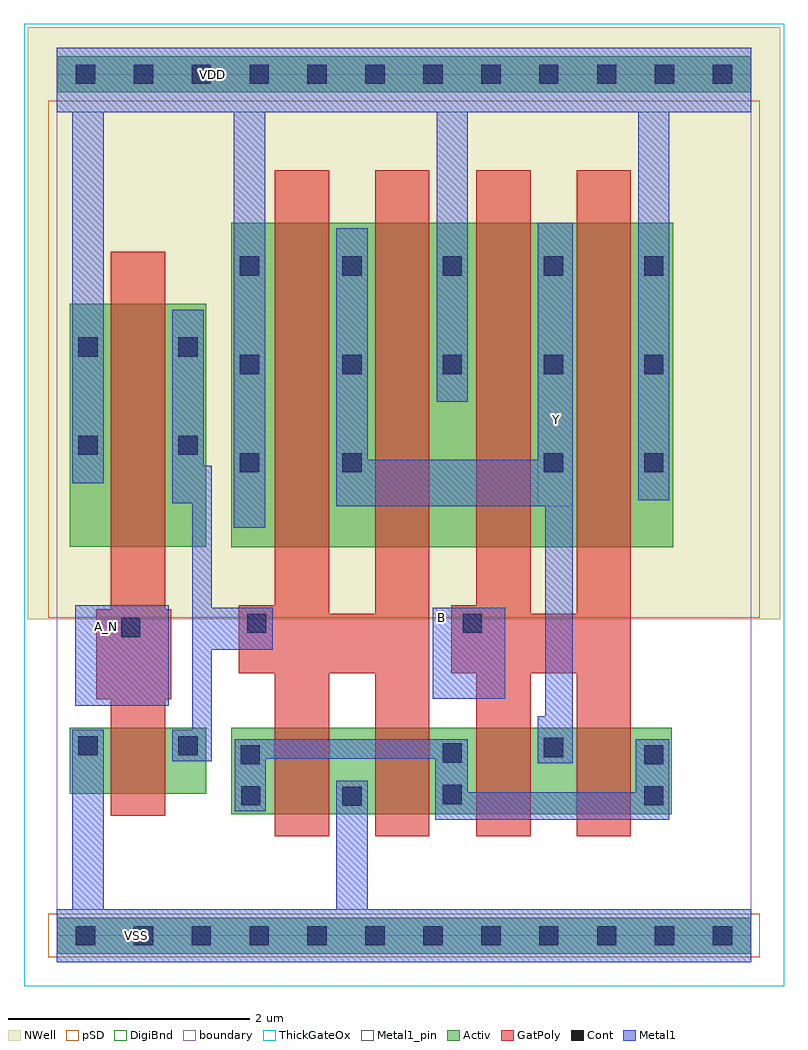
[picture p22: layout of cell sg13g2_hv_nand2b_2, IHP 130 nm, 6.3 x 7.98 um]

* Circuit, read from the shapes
.subckt sg13g2_hv_nand2b_2 A_N B VDD VSS Y
XM1 n1 A_N VSS VSS sg13_hv_nmos w=0.55u l=0.45u
XM2 VSS n1 n2 VSS sg13_hv_nmos w=0.72u l=0.45u m=2
XM3 Y B n2 VSS sg13_hv_nmos w=0.72u l=0.45u m=2
XM4 n1 A_N VDD VDD sg13_hv_pmos w=2.015u l=0.45u
XM5 Y n1 VDD VDD sg13_hv_pmos w=2.69u l=0.45u m=2
XM6 Y B VDD VDD sg13_hv_pmos w=2.69u l=0.45u m=2
.ends

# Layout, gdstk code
import gdstk
lib = gdstk.Library(unit=1e-6, precision=1e-09)
def R(c, l, rs):  # rectangles x0, y0, x1, y1
    for r in rs: c.add(gdstk.rectangle(r[:2], r[2:], *l))
def A(c, l, x, y, w, h, nx, ny, dx, dy):  # array of equal rectangles
    R(c, l, [(x+i*dx, y+j*dy, x+i*dx+w, y+j*dy+h) for i in range(nx) for j in range(ny)])
def P(c, l, *ps):  # polygons
    for p in ps: c.add(gdstk.Polygon(p, *l))
Activ = (1, 0)
GatPoly = (5, 0)
Cont = (6, 0)
Metal1 = (8, 0)
Metal1_pin = (8, 2)
pSD = (14, 0)
DigiBnd = (16, 0)
NWell = (31, 0)
ThickGateOx = (44, 0)
boundary = (189, 4)

sg13g2_hv_nand2b_2 = lib.new_cell('sg13g2_hv_nand2b_2')
R(sg13g2_hv_nand2b_2, Activ, [(0,-0.15,5.76,0.15), (1.45,1.005,5.1,1.725), (0.11,1.175,1.24,1.725), (1.45,3.22,5.11,5.91), (0.11,3.225,1.24,5.24), (0,6.99,5.76,7.29)])
P(sg13g2_hv_nand2b_2, GatPoly, [(1.81,0.825),(1.81,2.175),(1.51,2.175),(1.51,2.74),(1.81,2.74),(1.81,6.345),(2.26,6.345),(2.26,2.67),(2.64,2.67),(2.64,6.345),(3.09,6.345),(3.09,0.825),(2.64,0.825),(2.64,2.175),(2.26,2.175),(2.26,0.825)],
  [(0.45,0.995),(0.45,1.96),(0.33,1.96),(0.33,2.705),(0.45,2.705),(0.45,5.67),(0.9,5.67),(0.9,2.705),(0.95,2.705),(0.95,1.96),(0.9,1.96),(0.9,0.995)],
  [(3.48,0.825),(3.48,2.175),(3.27,2.175),(3.27,2.74),(3.48,2.74),(3.48,6.345),(3.93,6.345),(3.93,2.67),(4.31,2.67),(4.31,6.345),(4.76,6.345),(4.76,0.825),(4.31,0.825),(4.31,2.175),(3.93,2.175),(3.93,0.825)])
A(sg13g2_hv_nand2b_2, Cont, 0.16, -0.08, 0.16, 0.16, 12, 2, 0.48, 7.14)
A(sg13g2_hv_nand2b_2, Cont, 1.52, 3.84, 0.16, 0.16, 1, 3, 0, 0.815)
A(sg13g2_hv_nand2b_2, Cont, 2.37, 3.84, 0.16, 0.16, 1, 3, 0, 0.815)
A(sg13g2_hv_nand2b_2, Cont, 4.04, 3.84, 0.16, 0.16, 1, 3, 0, 0.815)
A(sg13g2_hv_nand2b_2, Cont, 4.87, 3.84, 0.16, 0.16, 1, 3, 0, 0.815)
R(sg13g2_hv_nand2b_2, Cont, [(2.37,1.075,2.53,1.235), (1.53,1.08,1.69,1.24), (4.87,1.08,5.03,1.24), (3.2,1.09,3.36,1.25), (1.525,1.42,1.685,1.58), (4.87,1.42,5.03,1.58), (3.2,1.435,3.36,1.595), (4.04,1.48,4.2,1.64), (0.18,1.495,0.34,1.655), (1.01,1.495,1.17,1.655), (0.535,2.475,0.695,2.635), (1.58,2.51,1.74,2.67), (3.365,2.51,3.525,2.67), (0.18,3.985,0.34,4.145), (1.01,3.985,1.17,4.145), (3.2,4.655,3.36,4.815), (0.18,4.8,0.34,4.96), (1.01,4.8,1.17,4.96), (3.2,5.47,3.36,5.63)])
R(sg13g2_hv_nand2b_2, Metal1, [(0.155,1.905,0.93,2.74), (3.12,1.965,3.72,2.72)])
P(sg13g2_hv_nand2b_2, Metal1, [(3.14,0.96),(3.14,1.465),(1.735,1.465),(1.735,1.03),(1.475,1.03),(1.475,1.63),(3.41,1.63),(3.41,1.19),(4.8,1.19),(4.8,1.63),(5.08,1.63),(5.08,0.96)],
  [(3.99,1.43),(3.99,1.82),(4.05,1.82),(4.05,3.56),(2.32,3.56),(2.32,5.865),(2.58,5.865),(2.58,3.945),(3.99,3.945),(3.99,5.91),(4.28,5.91),(4.28,1.43)],
  [(0,-0.22),(0,0.22),(0.13,0.22),(0.13,1.705),(0.39,1.705),(0.39,0.22),(2.32,0.22),(2.32,1.285),(2.58,1.285),(2.58,0.22),(5.76,0.22),(5.76,-0.22)],
  [(0.96,1.445),(0.96,1.705),(1.125,1.705),(1.125,3.585),(0.96,3.585),(0.96,5.19),(1.22,5.19),(1.22,3.895),(1.285,3.895),(1.285,2.72),(1.79,2.72),(1.79,2.37),(1.285,2.37),(1.285,1.445)],
  [(1.47,3.38),(1.47,6.825),(0.39,6.825),(0.39,3.75),(0.13,3.75),(0.13,6.825),(0,6.825),(0,7.36),(5.76,7.36),(5.76,6.825),(5.08,6.825),(5.08,3.61),(4.82,3.61),(4.82,6.825),(3.41,6.825),(3.41,4.425),(3.15,4.425),(3.15,6.825),(1.73,6.825),(1.73,3.38)])
R(sg13g2_hv_nand2b_2, Metal1_pin, [(0,-0.22,5.76,0.22), (0.155,1.905,0.93,2.74), (3.12,1.965,3.72,2.72), (3.99,3.56,4.28,5.91), (0,6.825,5.76,7.36)])
R(sg13g2_hv_nand2b_2, pSD, [(-0.07,-0.18,5.83,0.18), (-0.07,2.635,5.83,6.92)])
R(sg13g2_hv_nand2b_2, DigiBnd, [(0,0,5.76,7.14)])
R(sg13g2_hv_nand2b_2, NWell, [(-0.24,2.625,6,7.53)])
R(sg13g2_hv_nand2b_2, ThickGateOx, [(-0.27,-0.42,6.03,7.56)])
R(sg13g2_hv_nand2b_2, boundary, [(0,0,5.76,7.14)])
sg13g2_hv_nand2b_2.add(gdstk.Label('A_N', (0.41,2.565), layer=8, texttype=25))
sg13g2_hv_nand2b_2.add(gdstk.Label('Y', (4.14,4.28), layer=8, texttype=25))
sg13g2_hv_nand2b_2.add(gdstk.Label('VDD', (1.29,7.14), layer=8, texttype=25))
sg13g2_hv_nand2b_2.add(gdstk.Label('VSS', (0.66,0), layer=8, texttype=25))
sg13g2_hv_nand2b_2.add(gdstk.Label('B', (3.19,2.64), layer=8, texttype=25))

lib.write_gds('sg13g2_hv_nand2b_2.gds')
